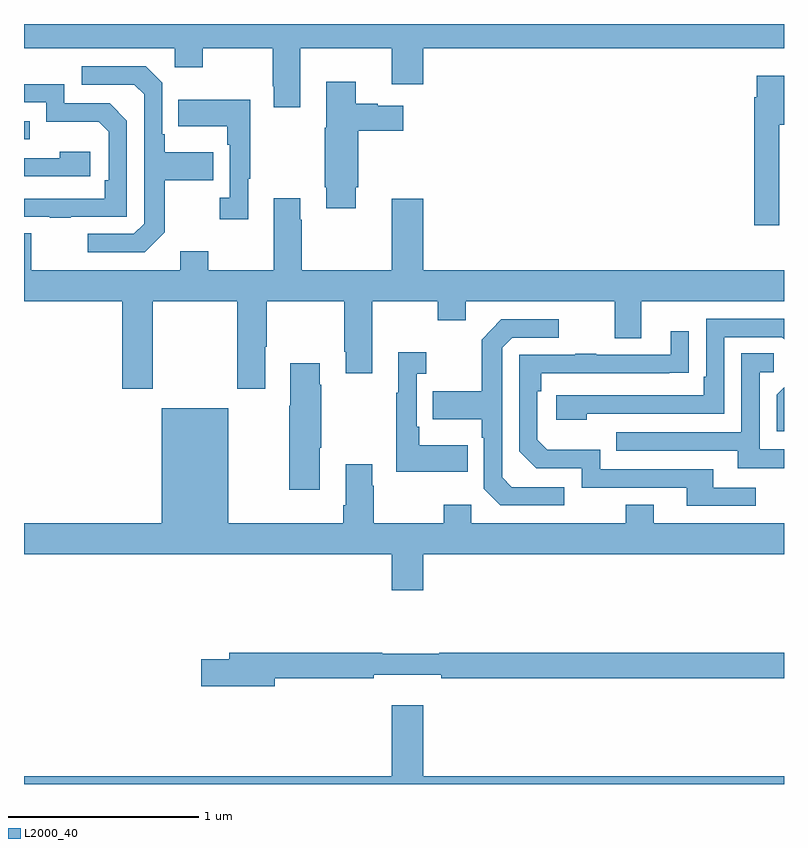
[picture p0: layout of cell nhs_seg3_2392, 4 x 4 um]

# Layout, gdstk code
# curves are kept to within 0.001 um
import gdstk
lib = gdstk.Library(unit=1e-6, precision=1e-09)
def R(c, l, rs):  # rectangles x0, y0, x1, y1
    for r in rs: c.add(gdstk.rectangle(r[:2], r[2:], *l))
def P(c, l, *ps):  # polygons
    for p in ps: c.add(gdstk.Polygon(p, *l))
L2000_40 = (2000, 40)

nhs_seg3_2392 = lib.new_cell('nhs_seg3_2392')
R(nhs_seg3_2392, L2000_40, [(235,677.793,235.031,677.889)])
P(nhs_seg3_2392, L2000_40, [(236.455,678.272),(236.936,678.272),(236.936,678.084),(237.1,678.084),(237.1,678.272),(239,678.272),(239,678.4),(235,678.4),(235,678.272),(235.794,678.272),(235.794,678.173),(235.941,678.173),(235.941,678.272),(236.308,678.272),(236.308,678.073),(236.315,678.073),(236.315,677.961),(236.455,677.961)],
  [(235.741,677.305),(235.741,677.578),(235.997,677.578),(235.997,677.725),(235.741,677.725),(235.741,677.821),(235.728,677.821),(235.728,678.09),(235.641,678.177),(235.305,678.177),(235.305,678.081),(235.581,678.081),(235.632,678.03),(235.632,677.349),(235.578,677.295),(235.335,677.295),(235.335,677.199),(235.635,677.199)],
  [(238.975,677.871),(239,677.871),(239,678.127),(238.856,678.127),(238.856,678.014),(238.844,678.014),(238.844,677.34),(238.975,677.34)],
  [(236.746,677.542),(236.759,677.542),(236.759,677.837),(236.995,677.837),(236.995,677.971),(236.862,677.971),(236.862,677.979),(236.746,677.979),(236.746,678.097),(236.591,678.097),(236.591,677.853),(236.584,677.853),(236.584,677.542),(236.591,677.542),(236.591,677.43),(236.746,677.43)],
  [(235.247,677.385),(235.542,677.385),(235.542,677.892),(235.452,677.982),(235.212,677.982),(235.212,678.084),(235,678.084),(235,677.988),(235.116,677.988),(235.116,677.885),(235.393,677.885),(235.446,677.832),(235.446,677.578),(235.426,677.578),(235.426,677.481),(235,677.481),(235,677.385),(235.135,677.385),(235.135,677.38),(235.247,677.38)],
  [(236.179,677.585),(236.191,677.585),(236.191,678.001),(235.813,678.001),(235.813,677.861),(236.07,677.861),(236.07,677.765),(236.082,677.765),(236.082,677.486),(236.031,677.486),(236.031,677.373),(236.179,677.373)],
  [(235.348,677.728),(235.187,677.728),(235.187,677.694),(235,677.694),(235,677.598),(235.348,677.598)],
  [(235.677,676.94),(236.122,676.94),(236.122,676.479),(236.269,676.479),(236.269,676.702),(236.277,676.702),(236.277,676.94),(236.686,676.94),(236.686,676.675),(236.693,676.675),(236.693,676.563),(236.833,676.563),(236.833,676.94),(237.178,676.94),(237.178,676.841),(237.325,676.841),(237.325,676.94),(238.109,676.94),(238.109,676.746),(238.249,676.746),(238.249,676.94),(239,676.94),(239,677.104),(237.1,677.104),(237.1,677.479),(236.936,677.479),(236.936,677.104),(236.463,677.104),(236.463,677.369),(236.455,677.369),(236.455,677.482),(236.315,677.482),(236.315,677.104),(235.971,677.104),(235.971,677.203),(235.823,677.203),(235.823,677.104),(235.039,677.104),(235.039,677.299),(235,677.299),(235,676.94),(235.517,676.94),(235.517,676.479),(235.677,676.479)],
  [(237.962,676.35),(238.686,676.35),(238.686,676.752),(238.989,676.752),(239,676.741),(239,676.848),(238.59,676.848),(238.59,676.543),(238.577,676.543),(238.577,676.446),(237.801,676.446),(237.801,676.316),(237.962,676.316)],
  [(237.844,675.963),(237.567,675.963),(237.516,676.014),(237.516,676.695),(237.57,676.749),(237.814,676.749),(237.814,676.845),(237.513,676.845),(237.408,676.739),(237.408,676.467),(237.151,676.467),(237.151,676.319),(237.408,676.319),(237.408,676.223),(237.42,676.223),(237.42,675.954),(237.507,675.867),(237.844,675.867)],
  [(238.852,675.96),(238.627,675.96),(238.627,676.056),(238.032,676.056),(238.032,676.159),(237.755,676.159),(237.702,676.212),(237.702,676.466),(237.722,676.466),(237.722,676.563),(238.499,676.564),(238.499,676.783),(238.403,676.783),(238.403,676.659),(238.013,676.659),(238.013,676.664),(237.901,676.664),(237.901,676.659),(237.606,676.659),(237.606,676.152),(237.696,676.062),(237.936,676.062),(237.936,675.96),(238.487,675.96),(238.487,675.864),(238.852,675.864)],
  [(237.335,676.183),(237.079,676.183),(237.079,676.279),(237.066,676.279),(237.066,676.559),(237.118,676.559),(237.118,676.672),(236.969,676.672),(236.969,676.459),(236.958,676.459),(236.958,676.043),(237.335,676.043)],
  [(239,676.161),(238.872,676.161),(238.872,676.566),(238.945,676.566),(238.945,676.667),(238.776,676.667),(238.776,676.251),(238.117,676.251),(238.117,676.155),(238.757,676.155),(238.757,676.061),(239,676.061)],
  [(236.557,676.171),(236.565,676.171),(236.565,676.502),(236.557,676.502),(236.557,676.615),(236.402,676.615),(236.402,676.391),(236.395,676.391),(236.395,675.948),(236.557,675.948)],
  [(239,676.488),(238.962,676.45),(238.962,676.257),(239,676.257)],
  [(237.1,675.608),(239,675.608),(239,675.772),(238.315,675.772),(238.315,675.871),(238.168,675.871),(238.168,675.772),(237.354,675.772),(237.354,675.871),(237.208,675.871),(237.208,675.772),(236.841,675.772),(236.841,675.971),(236.833,675.971),(236.833,676.084),(236.693,676.084),(236.693,675.868),(236.681,675.868),(236.681,675.772),(236.074,675.772),(236.074,676.378),(235.724,676.378),(235.724,675.772),(235,675.772),(235,675.608),(236.936,675.608),(236.936,675.42),(237.1,675.42)],
  [(236.32,674.956),(236.84,674.956),(236.84,674.975),(237.196,674.975),(237.196,674.956),(239,674.956),(239,675.092),(237.185,675.092),(237.185,675.085),(236.885,675.085),(236.885,675.092),(236.081,675.092),(236.081,675.056),(235.932,675.056),(235.932,674.914),(236.32,674.914)],
  [(239,674.44),(237.1,674.44),(237.1,674.815),(236.936,674.815),(236.936,674.44),(235,674.44),(235,674.4),(239,674.4)])

lib.write_gds('nhs_seg3_2392.gds')
